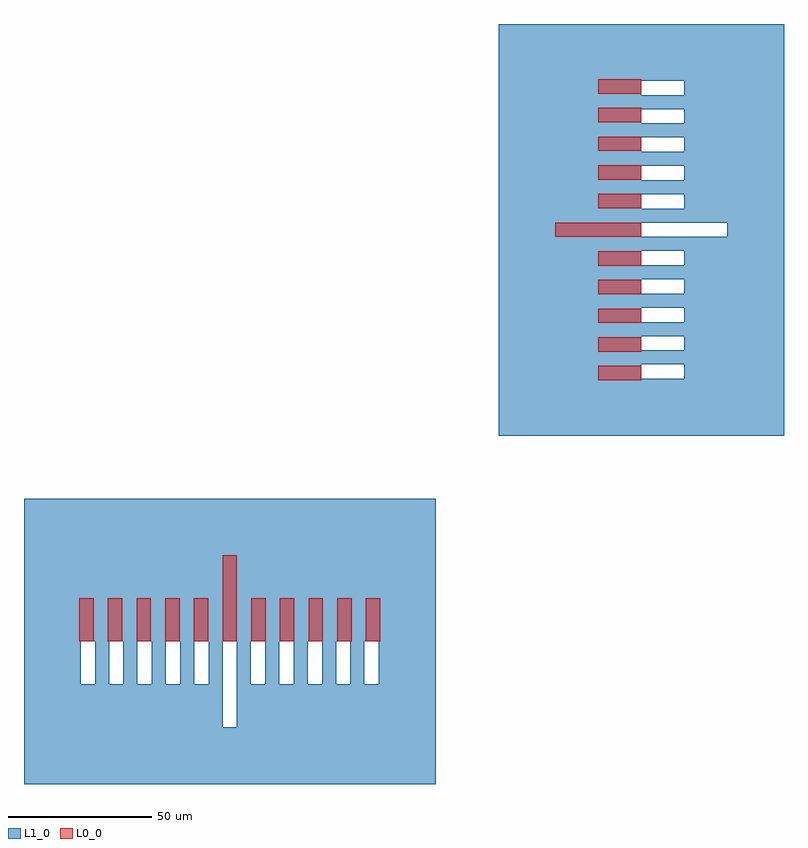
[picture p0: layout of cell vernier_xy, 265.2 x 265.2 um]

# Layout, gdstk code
from math import pi, radians
import gdstk
lib = gdstk.Library(unit=1e-6, precision=1e-09)
def R(c, l, rs):  # rectangles x0, y0, x1, y1
    for r in rs: c.add(gdstk.rectangle(r[:2], r[2:], *l))
def P(c, l, *ps):  # polygons
    for p in ps: c.add(gdstk.Polygon(p, *l))
L0_0 = (0, 0)
L1_0 = (1, 0)

ruler_2 = lib.new_cell('ruler_2')
P(ruler_2, L1_0, [(71.8,49.8),(-71.8,49.8),(-71.8,-49.8),(-52,-49.8),(-52,0),(-52,15),(-47,15),(-47,0),(-52,0),(-52,-49.8),(-42.1,-49.8),(-42.1,0),(-42.1,15),(-37.1,15),(-37.1,0),(-42.1,0),(-42.1,-49.8),(-32.2,-49.8),(-32.2,0),(-32.2,15),(-27.2,15),(-27.2,0),(-32.2,0),(-32.2,-49.8),(-22.3,-49.8),(-22.3,0),(-22.3,15),(-17.3,15),(-17.3,0),(-22.3,0),(-22.3,-49.8),(-12.4,-49.8),(-12.4,0),(-12.4,15),(-7.4,15),(-7.4,0),(-12.4,0),(-12.4,-49.8),(-2.5,-49.8),(-2.5,0),(-2.5,30),(2.5,30),(2.5,0),(-2.5,0),(-2.5,-49.8),(7.4,-49.8),(7.4,0),(7.4,15),(12.4,15),(12.4,0),(7.4,0),(7.4,-49.8),(17.3,-49.8),(17.3,0),(17.3,15),(22.3,15),(22.3,0),(17.3,0),(17.3,-49.8),(27.2,-49.8),(27.2,0),(27.2,15),(32.2,15),(32.2,0),(27.2,0),(27.2,-49.8),(37.1,-49.8),(37.1,0),(37.1,15),(42.1,15),(42.1,0),(37.1,0),(37.1,-49.8),(47,-49.8),(47,0),(47,15),(52,15),(52,0),(47,0),(47,-49.8),(71.8,-49.8)])

mark_6 = lib.new_cell('mark$6')
R(mark_6, L0_0, [(-2.5,0,2.5,15)])

ruler_1 = lib.new_cell('ruler_1')
R(ruler_1, L0_0, [(-2.5,15,2.5,30)])
r = gdstk.Reference(mark_6, (-50,0)); r.repetition = gdstk.Repetition(11, 1, v1=(10,0), v2=(0,1)); ruler_1.add(r)

vernier = lib.new_cell('vernier')
vernier.add(gdstk.Reference(ruler_2, (0,0), x_reflection=True))
vernier.add(gdstk.Reference(ruler_1, (0,0)))

vernier_xy = lib.new_cell('vernier_xy')
vernier_xy.add(gdstk.Reference(vernier, (143.6,143.6), rotation=pi/2))
vernier_xy.add(gdstk.Reference(vernier, (0,0)))

lib.write_gds('vernier_xy.gds')
